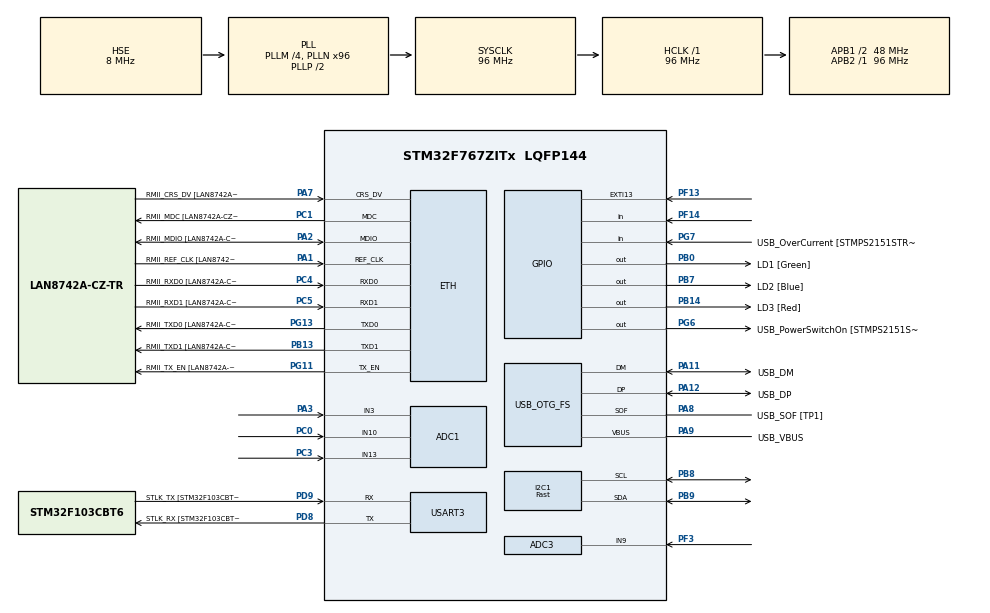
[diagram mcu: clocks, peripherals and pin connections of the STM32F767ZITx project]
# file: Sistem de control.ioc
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ADC1.Channel-0\#ChannelRegularConversion=ADC_CHANNEL_3
ADC1.NbrOfConversionFlag=1
ADC1.Rank-0\#ChannelRegularConversion=1
ADC1.SamplingTime-0\#ChannelRegularConversion=ADC_SAMPLETIME_3CYCLES
ADC1.master=1
ADC3.Channel-0\#ChannelRegularConversion=ADC_CHANNEL_9
ADC3.NbrOfConversionFlag=1
ADC3.Rank-0\#ChannelRegularConversion=1
ADC3.SamplingTime-0\#ChannelRegularConversion=ADC_SAMPLETIME_3CYCLES
CORTEX_M7.CPU_DCache=Enabled
CORTEX_M7.CPU_ICache=Enabled
CORTEX_M7.default_mode_Activation=1
ETH.MediaInterface=HAL_ETH_RMII_MODE
ETH.PHY_Name=LAN8742A_PHY_ADDRESS
ETH.PHY_Value=0
ETH.PhyAddress=0
ETH.RxBuffLen=1536
FREERTOS.Tasks01=defaultTask,0,1024,StartDefaultTask,Default,NULL,Dynamic,NULL,NULL;ADC_Readings,0,512,StartAdcReadings,Default,NULL,Dynamic,NULL,NULL
FREERTOS.configUSE_NEWLIB_REENTRANT=1
I2C1.I2C_Speed_Mode=I2C_Fast
I2C1.Timing=0x2010091A
LWIP.BSP.number=1
LWIP.GATEWAY_ADDRESS=192.168.001.001
LWIP.IP_ADDRESS=192.168.001.100
LWIP.LWIP_DHCP=0
LWIP.NETMASK_ADDRESS=255.255.255.000
LWIP.Version=v2.1.2_Cube
LWIP0.BSP.STBoard=false
LWIP0.BSP.api=BSP_COMPONENT_DRIVER
LWIP0.BSP.component=LAN8742
LWIP0.BSP.instance=LAN8742
LWIP0.BSP.name=Driver_PHY
LWIP0.BSP.semaphore=S_LAN8742
LWIP0.BSP.solution=LAN8742
Mcu.Family=STM32F7
Mcu.Name=STM32F767ZITx
Mcu.Package=LQFP144
NVIC.ETH_IRQn=true\:5\:0\:false\:false\:true\:true\:true\:true\:true
NVIC.ETH_WKUP_IRQn=true\:5\:0\:false\:false\:true\:true\:true\:true\:true
NVIC.PriorityGroup=NVIC_PRIORITYGROUP_4
NVIC.TIM6_DAC_IRQn=true\:15\:0\:false\:false\:true\:false\:false\:true\:true
NVIC.TimeBase=TIM6_DAC_IRQn
NVIC.TimeBaseIP=TIM6
PA1.GPIO_Label=RMII_REF_CLK [LAN8742A-CZ-TR_REFCLK0]
PA1.Mode=RMII
PA1.Signal=ETH_REF_CLK
PA10.GPIO_Label=USB_ID
PA10.Signal=USB_OTG_FS_ID
PA11.GPIO_Label=USB_DM
PA11.Mode=Device_Only
PA11.Signal=USB_OTG_FS_DM
PA12.GPIO_Label=USB_DP
PA12.Mode=Device_Only
PA12.Signal=USB_OTG_FS_DP
PA13.GPIO_Label=TMS
PA13.Mode=Serial_Wire
PA13.Signal=SYS_JTMS-SWDIO
PA14.GPIO_Label=TCK
PA14.Mode=Serial_Wire
PA14.Signal=SYS_JTCK-SWCLK
PA2.GPIO_Label=RMII_MDIO [LAN8742A-CZ-TR_MDIO]
PA2.Mode=RMII
PA2.Signal=ETH_MDIO
PA3.Signal=ADCx_IN3
PA7.GPIO_Label=RMII_CRS_DV [LAN8742A-CZ-TR_CRS_DV]
PA7.Mode=RMII
PA7.Signal=ETH_CRS_DV
PA8.GPIO_Label=USB_SOF [TP1]
PA8.Mode=Activate_SOF_FS
PA8.Signal=USB_OTG_FS_SOF
PA9.GPIO_Label=USB_VBUS
PA9.Mode=Activate_VBUS
PA9.Signal=USB_OTG_FS_VBUS
PB0.GPIO_Label=LD1 [Green]
PB0.Signal=GPIO_Output
PB13.GPIO_Label=RMII_TXD1 [LAN8742A-CZ-TR_TXD1]
PB13.Mode=RMII
PB13.Signal=ETH_TXD1
PB14.GPIO_Label=LD3 [Red]
PB14.Signal=GPIO_Output
PB3.GPIO_Label=SWO
PB3.Signal=SYS_JTDO-SWO
PB7.GPIO_Label=LD2 [Blue]
PB7.Signal=GPIO_Output
PB8.GPIO_Pu=GPIO_PULLUP
PB8.Mode=I2C
PB8.Signal=I2C1_SCL
PB9.GPIO_Pu=GPIO_PULLUP
PB9.Mode=I2C
PB9.Signal=I2C1_SDA
PC0.Signal=ADCx_IN10
PC1.GPIO_Label=RMII_MDC [LAN8742A-CZ-TR_MDC]
PC1.Mode=RMII
PC1.Signal=ETH_MDC
PC14/OSC32_IN.Mode=LSE-External-Oscillator
PC14/OSC32_IN.Signal=RCC_OSC32_IN
PC15/OSC32_OUT.Mode=LSE-External-Oscillator
PC15/OSC32_OUT.Signal=RCC_OSC32_OUT
PC3.Signal=ADCx_IN13
PC4.GPIO_Label=RMII_RXD0 [LAN8742A-CZ-TR_RXD0]
PC4.Mode=RMII
PC4.Signal=ETH_RXD0
PC5.GPIO_Label=RMII_RXD1 [LAN8742A-CZ-TR_RXD1]
PC5.Mode=RMII
PC5.Signal=ETH_RXD1
PD8.GPIO_Label=STLK_RX [STM32F103CBT6_PA3]
PD8.Mode=Asynchronous
PD8.Signal=USART3_TX
PD9.GPIO_Label=STLK_TX [STM32F103CBT6_PA2]
PD9.Mode=Asynchronous
PD9.Signal=USART3_RX
PF13.Signal=GPXTI13
PF14.Signal=GPIO_Input
PF3.Mode=IN9
PF3.Signal=ADC3_IN9
PG11.GPIO_Label=RMII_TX_EN [LAN8742A-CZ-TR_TXEN]
PG11.Mode=RMII
PG11.Signal=ETH_TX_EN
PG13.GPIO_Label=RMII_TXD0 [LAN8742A-CZ-TR_TXD0]
PG13.Mode=RMII
PG13.Signal=ETH_TXD0
PG6.GPIO_Label=USB_PowerSwitchOn [STMPS2151STR_EN]
PG6.Signal=GPIO_Output
PG7.GPIO_Label=USB_OverCurrent [STMPS2151STR_FAULT]
PG7.Signal=GPIO_Input
PH0/OSC_IN.GPIO_Label=MCO [STM32F103CBT6_PA8]
PH0/OSC_IN.Mode=HSE-External-Clock-Source
PH0/OSC_IN.Signal=RCC_OSC_IN
PH1/OSC_OUT.Mode=HSE-External-Clock-Source
PH1/OSC_OUT.Signal=RCC_OSC_OUT
ProjectManager.HeapSize=0x200
ProjectManager.StackSize=0x400
ProjectManager.TargetToolchain=STM32CubeIDE
RCC.48MHZClocksFreq_Value=24000000
RCC.AHBFreq_Value=96000000
RCC.APB1CLKDivider=RCC_HCLK_DIV2
RCC.APB1Freq_Value=48000000
RCC.APB1TimFreq_Value=96000000
RCC.APB2Freq_Value=96000000
RCC.APB2TimFreq_Value=96000000
RCC.CortexFreq_Value=96000000
RCC.HCLKFreq_Value=96000000
RCC.HSE_VALUE=8000000
RCC.HSI_VALUE=16000000
RCC.PLLM=4
RCC.PLLMUL=RCC_PLL_MUL9
RCC.PLLN=96
RCC.PLLQ=4
RCC.PRESCALERUSB=RCC_USBCLKSOURCE_PLL_DIV1_5
RCC.SYSCLKFreq_VALUE=96000000
RCC.SYSCLKSource=RCC_SYSCLKSOURCE_PLLCLK
RCC.SYSCLKSourceVirtual=RCC_SYSCLKSOURCE_PLLCLK
RCC.USBFreq_Value=48000000
RCC.VCOOutputFreq_Value=192000000
SH.ADCx_IN10.0=ADC1_IN10,IN10
SH.ADCx_IN13.0=ADC1_IN13,IN13
SH.ADCx_IN3.0=ADC1_IN3,IN3
USART3.VirtualMode-Asynchronous=VM_ASYNC
USB_OTG_FS.VirtualMode=Device_Only
VP_FREERTOS_VS_CMSIS_V1.Mode=CMSIS_V1
VP_LWIP_VS_Enabled.Mode=Enabled
VP_SYS_VS_tim6.Mode=TIM6
board=NUCLEO-F767ZI

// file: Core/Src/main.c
/* USER CODE BEGIN Header */
/**
  ******************************************************************************
  * @file           : main.c
  * @brief          : Main program body
  ******************************************************************************
  * @attention
  *
  * Copyright (c) 2026 STMicroelectronics.
  * All rights reserved.
  *
  * This software is licensed under terms that can be found in the LICENSE file
  * in the root directory of this software component.
  * If no LICENSE file comes with this software, it is provided AS-IS.
  *
  ******************************************************************************
  */
/* USER CODE END Header */
#include "main.h"
#include "cmsis_os.h"
#include "adc.h"
#include "i2c.h"
#include "lwip.h"
#include "usart.h"
#include "usb_otg.h"
#include "gpio.h"

void SystemClock_Config(void);
static void MPU_Config(void);
void MX_FREERTOS_Init(void);

int main(void)
{

  /* MPU Configuration--------------------------------------------------------*/
  MPU_Config();

  /* Enable the CPU Cache */

  /* Enable I-Cache---------------------------------------------------------*/
  SCB_EnableICache();

  /* Enable D-Cache---------------------------------------------------------*/
  SCB_EnableDCache();

  /* MCU Configuration--------------------------------------------------------*/

  /* Reset of all peripherals, Initializes the Flash interface and the Systick. */
  HAL_Init();

  /* Configure the system clock */
  SystemClock_Config();

  /* Initialize all configured peripherals */
  MX_GPIO_Init();
  MX_USART3_UART_Init();
  MX_USB_OTG_FS_PCD_Init();
  MX_ADC1_Init();
  MX_ADC3_Init();
  MX_I2C1_Init();

  /* Call init function for freertos objects (in cmsis_os2.c) */
  MX_FREERTOS_Init();

  /* Start scheduler */
  osKernelStart();

  /* We should never get here as control is now taken by the scheduler */

  /* Infinite loop */
  while (1)
  {

  }
}

void SystemClock_Config(void)
{
  RCC_OscInitTypeDef RCC_OscInitStruct = {0};
  RCC_ClkInitTypeDef RCC_ClkInitStruct = {0};

  /** Configure LSE Drive Capability
  */
  HAL_PWR_EnableBkUpAccess();

  /** Configure the main internal regulator output voltage
  */
  __HAL_RCC_PWR_CLK_ENABLE();
  __HAL_PWR_VOLTAGESCALING_CONFIG(PWR_REGULATOR_VOLTAGE_SCALE3);

  /** Initializes the RCC Oscillators according to the specified parameters
  * in the RCC_OscInitTypeDef structure.
  */
  RCC_OscInitStruct.OscillatorType = RCC_OSCILLATORTYPE_HSE;
  RCC_OscInitStruct.HSEState = RCC_HSE_BYPASS;
  RCC_OscInitStruct.PLL.PLLState = RCC_PLL_ON;
  RCC_OscInitStruct.PLL.PLLSource = RCC_PLLSOURCE_HSE;
  RCC_OscInitStruct.PLL.PLLM = 4;
  RCC_OscInitStruct.PLL.PLLN = 96;
  RCC_OscInitStruct.PLL.PLLP = RCC_PLLP_DIV2;
  RCC_OscInitStruct.PLL.PLLQ = 4;
  RCC_OscInitStruct.PLL.PLLR = 2;
  if (HAL_RCC_OscConfig(&RCC_OscInitStruct) != HAL_OK)
  {
    Error_Handler();
  }

  /** Activate the Over-Drive mode
  */
  if (HAL_PWREx_EnableOverDrive() != HAL_OK)
  {
    Error_Handler();
  }

  /** Initializes the CPU, AHB and APB buses clocks
  */
  RCC_ClkInitStruct.ClockType = RCC_CLOCKTYPE_HCLK|RCC_CLOCKTYPE_SYSCLK
                              |RCC_CLOCKTYPE_PCLK1|RCC_CLOCKTYPE_PCLK2;
  RCC_ClkInitStruct.SYSCLKSource = RCC_SYSCLKSOURCE_PLLCLK;
  RCC_ClkInitStruct.AHBCLKDivider = RCC_SYSCLK_DIV1;
  RCC_ClkInitStruct.APB1CLKDivider = RCC_HCLK_DIV2;
  RCC_ClkInitStruct.APB2CLKDivider = RCC_HCLK_DIV1;

  if (HAL_RCC_ClockConfig(&RCC_ClkInitStruct, FLASH_LATENCY_3) != HAL_OK)
  {
    Error_Handler();
  }
}

 /* MPU Configuration */

void MPU_Config(void)
{
  MPU_Region_InitTypeDef MPU_InitStruct = {0};

  /* Disables the MPU */
  HAL_MPU_Disable();

  /** Initializes and configures the Region and the memory to be protected
  */
  MPU_InitStruct.Enable = MPU_REGION_ENABLE;
  MPU_InitStruct.Number = MPU_REGION_NUMBER0;
  MPU_InitStruct.BaseAddress = 0x0;
  MPU_InitStruct.Size = MPU_REGION_SIZE_4GB;
  MPU_InitStruct.SubRegionDisable = 0x87;
  MPU_InitStruct.TypeExtField = MPU_TEX_LEVEL0;
  MPU_InitStruct.AccessPermission = MPU_REGION_NO_ACCESS;
  MPU_InitStruct.DisableExec = MPU_INSTRUCTION_ACCESS_DISABLE;
  MPU_InitStruct.IsShareable = MPU_ACCESS_SHAREABLE;
  MPU_InitStruct.IsCacheable = MPU_ACCESS_NOT_CACHEABLE;
  MPU_InitStruct.IsBufferable = MPU_ACCESS_NOT_BUFFERABLE;

  HAL_MPU_ConfigRegion(&MPU_InitStruct);
  /* Enables the MPU */
  HAL_MPU_Enable(MPU_PRIVILEGED_DEFAULT);

}

void HAL_TIM_PeriodElapsedCallback(TIM_HandleTypeDef *htim)
{
  if (htim->Instance == TIM6)
  {
    HAL_IncTick();
  }
}

void Error_Handler(void)
{
  __disable_irq();
  while (1)
  {
  }
}

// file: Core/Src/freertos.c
/* USER CODE BEGIN Header */
/**
  ******************************************************************************
  * File Name          : freertos.c
  * Description        : Code for freertos applications
  ******************************************************************************
  */
/* USER CODE END Header */

#include "FreeRTOS.h"
#include "task.h"
#include "main.h"
#include "cmsis_os.h"

/* USER CODE BEGIN Includes */
#include "lwip/netif.h"
#include "lwip/ip4_addr.h"
#include "ethernetif.h"
#include "netif/etharp.h"
#include "adc.h"
#include <stdio.h>
#include "udp.h"
#include "lwip.h"
#include "constants.h"
#include "inverse_kinematic.h"
#include "ssd1306.h"
#include "i2c.h"
extern struct netif gnetif;
/* USER CODE END Includes */

/* USER CODE BEGIN PTD */
typedef struct{
float x1, y1, x2,y2;
uint32_t ts;
}Joysticks;

/* USER CODE END PTD */

/* USER CODE BEGIN Variables */
QueueHandle_t QueueJoysticks;
QueueHandle_t QueueIK;

extern ADC_HandleTypeDef hadc1;
extern UART_HandleTypeDef huart3;
extern ADC_HandleTypeDef hadc3;
extern ETH_HandleTypeDef heth;
extern I2C_HandleTypeDef hi2c1;
extern volatile uint32_t dbg_rx_isr, dbg_rx_pkts, dbg_tx_calls, dbg_tx_ok;
/* USER CODE END Variables */
osThreadId defaultTaskHandle;
osThreadId ADC_ReadingsHandle;

/* USER CODE BEGIN FunctionPrototypes */
float Read_Analogic_Pin(ADC_HandleTypeDef *hadc, uint32_t channel);
/* USER CODE END FunctionPrototypes */

void StartDefaultTask(void const * argument);
void StartAdcReadings(void const * argument);

extern void MX_LWIP_Init(void);
void MX_FREERTOS_Init(void); /* (MISRA C 2004 rule 8.1) */

/* GetIdleTaskMemory prototype (linked to static allocation support) */
void vApplicationGetIdleTaskMemory( StaticTask_t **ppxIdleTaskTCBBuffer, StackType_t **ppxIdleTaskStackBuffer, uint32_t *pulIdleTaskStackSize );

/* USER CODE BEGIN GET_IDLE_TASK_MEMORY */
static StaticTask_t xIdleTaskTCBBuffer;
static StackType_t xIdleStack[configMINIMAL_STACK_SIZE];

void vApplicationGetIdleTaskMemory( StaticTask_t **ppxIdleTaskTCBBuffer, StackType_t **ppxIdleTaskStackBuffer, uint32_t *pulIdleTaskStackSize )
{
  *ppxIdleTaskTCBBuffer = &xIdleTaskTCBBuffer;
  *ppxIdleTaskStackBuffer = &xIdleStack[0];
  *pulIdleTaskStackSize = configMINIMAL_STACK_SIZE;
}
/* USER CODE END GET_IDLE_TASK_MEMORY */

void MX_FREERTOS_Init(void) {

  /* USER CODE BEGIN RTOS_QUEUES */
	 QueueJoysticks = xQueueCreate(1, sizeof(Joysticks));
	 QueueIK = xQueueCreate(1, sizeof(joint_angles));
  /* USER CODE END RTOS_QUEUES */

  /* Create the thread(s) */
  /* definition and creation of defaultTask */
  osThreadDef(defaultTask, StartDefaultTask, osPriorityNormal, 0, 1024);
  defaultTaskHandle = osThreadCreate(osThread(defaultTask), NULL);

  /* definition and creation of ADC_Readings */
  osThreadDef(ADC_Readings, StartAdcReadings, osPriorityNormal, 0, 512);
  ADC_ReadingsHandle = osThreadCreate(osThread(ADC_Readings), NULL);

}

void StartDefaultTask(void const * argument)
{
  /* init code for LWIP */
  MX_LWIP_Init();
  /* USER CODE BEGIN StartDefaultTask */
  osDelay(2000);
 udpServer_init();
 printf("SUCCES: OLED inițializat cu succes!\r\n");
 uint8_t init_res = ssd1306_Init(&hi2c1);
   if (init_res != 0) {
       printf("EROARE I2C: ssd1306_Init a eșuat (Cod: %d)\r\n", init_res);
   } else {
       printf("SUCCES: OLED inițializat cu succes!\r\n");

       ssd1306_Fill(Black);
       ssd1306_SetCursor(0, 0);
       ssd1306_WriteString("OLED Ready", Font_7x10, White);
       ssd1306_UpdateScreen(&hi2c1);
   }
	  for(;;)
	    {
	    	// MX_LWIP_Process();
	    	HAL_GPIO_TogglePin(GPIOB, GPIO_PIN_0);   // LED albastru
	      osDelay(200);

	      Joysticks test;
	      joint_angles test1;
//	      if (++cnt >= 5)
//	      {
//	        cnt = 0;
//	        printf("rxISR=%lu rxPkts=%lu txCalls=%lu txOk=%lu MMCtx=%lu MMCcrcErr=%lu\r\n",
//	               (unsigned long)dbg_rx_isr,  (unsigned long)dbg_rx_pkts,
//	               (unsigned long)dbg_tx_calls, (unsigned long)dbg_tx_ok,
//	               (unsigned long)heth.Instance->MMCTGFCR,
//	               (unsigned long)heth.Instance->MMCRFCECR);

//	   if(xQueuePeek(QueueJoysticks, &test,0)==pdTRUE){
//		   printf("X1=%.2f Y1=%.2f X2=%.2f Y2=%.2f\r\n",
//		         test.x1, test.y1, test.x2, test.y2);
//	   }
////
//		   if( xQueuePeek(QueueIK, &test1, 0)==pdTRUE){
//			   printf("base=%.2f elbow=%.2f shoulder=%.2f\r\n",
//					   test1.base, test1.elbow, test1.shoulder);
//}

		   osDelay(200);

	   //

	    //}

  /* USER CODE END StartDefaultTask */
}
}
void StartAdcReadings(void const * argument)
{
  /* USER CODE BEGIN StartAdcReadings */

  osThreadSetPriority(NULL, osPriorityLow);

  Joysticks joysticks;
  joint_angles joint;
 // joint_angles  angles;
  /* Infinite loop */
  for(;;)
  {

	 float b_x1 =  Read_Analogic_Pin(&hadc1, ADC_CHANNEL_3);
	 float b_y1 =  Read_Analogic_Pin(&hadc1, ADC_CHANNEL_10);
	 float b_x2 =  Read_Analogic_Pin(&hadc3, ADC_CHANNEL_13);
	 float b_y2 =  Read_Analogic_Pin(&hadc3, ADC_CHANNEL_9);

//
//
//	joysticks.x1  = Read_Analogic_Pin(&hadc1, ADC_CHANNEL_3);
//    joysticks.y1 = Read_Analogic_Pin(&hadc1, ADC_CHANNEL_10);
//    joysticks.x2  = Read_Analogic_Pin(&hadc3, ADC_CHANNEL_13);
//    joysticks.y2  = Read_Analogic_Pin(&hadc3, ADC_CHANNEL_9);

	     joysticks.x1  = map(b_x1, 0.0f, 3.3f, -82.0f, 82.0f);
	     joysticks.y1  = map(b_y1, 0.0f, 3.3f, -128.0f, 128.0f);
	     joysticks.x2  = map(b_x2, 0.0f, 3.3f, -138.0f,138.0f );
	     joysticks.y2  = map(b_y2, 0.0f, 3.3f, -138.0f,138.0f );
	 joysticks.ts = xTaskGetTickCount();

    joint = inverse_kinematic(PI, arm_base, v_offset, vertical_articulation, horizontal_articulation, joysticks.x1,  joysticks.y1,  joysticks.x2);
    joint.tick = xTaskGetTickCount();
    osDelay(200);
//    printf("A0 (PA3): %.2f V | A1 (PC0): %.2f V | A3 (PF3): %.2f V\r\n",
//    voltaj, voltaj1, voltaj2);

//
//joint.base = joints.base_angle;
//joint.shoulder = joints.shoulder_angle;
//joint.elbow = joints.elbow_angle;
//joint.tick = xTaskGetTickCount();

    xQueueOverwrite(QueueIK, &joint);
    xQueueOverwrite(QueueJoysticks, &joysticks);
    osDelay(200);

  }
  /* USER CODE END StartAdcReadings */
}

/* USER CODE BEGIN Application */
float Read_Analogic_Pin(ADC_HandleTypeDef *hadc, uint32_t channel){
  ADC_ChannelConfTypeDef sConfig = {0};
  uint32_t raw_value = 0;
  float voltage = 0.0f;
  sConfig.Channel = channel;
  sConfig.Rank = 1;
  sConfig.SamplingTime = ADC_SAMPLETIME_56CYCLES;
  if(HAL_ADC_ConfigChannel(hadc, &sConfig) != HAL_OK){
    return -1.0f;
  }
  HAL_ADC_Start(hadc);
  if(HAL_ADC_PollForConversion(hadc, 10) == HAL_OK){
    raw_value = HAL_ADC_GetValue(hadc);
    voltage = ((float)raw_value * 3.3f) / 4095.0f;
  }
  HAL_ADC_Stop(hadc);
  return voltage;
}

int _write(int file, char *ptr, int len)
{
  HAL_UART_Transmit(&huart3, (uint8_t *)ptr, len, HAL_MAX_DELAY);
  return len;
}
/* USER CODE END Application */
